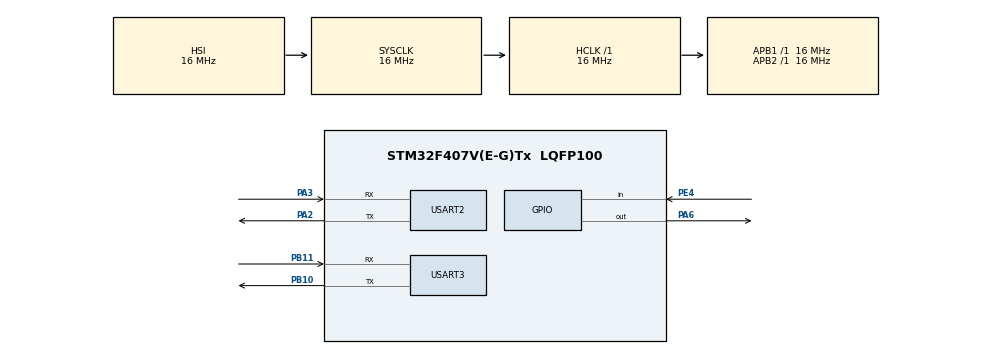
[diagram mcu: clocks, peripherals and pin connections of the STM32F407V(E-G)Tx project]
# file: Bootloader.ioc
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Mcu.Family=STM32F4
Mcu.Name=STM32F407V(E-G)Tx
Mcu.Package=LQFP100
NVIC.PriorityGroup=NVIC_PRIORITYGROUP_4
PA2.Mode=Asynchronous
PA2.Signal=USART2_TX
PA3.Mode=Asynchronous
PA3.Signal=USART2_RX
PA6.Signal=GPIO_Output
PB10.Mode=Asynchronous
PB10.Signal=USART3_TX
PB11.Mode=Asynchronous
PB11.Signal=USART3_RX
PE4.Signal=GPIO_Input
ProjectManager.HeapSize=0x200
ProjectManager.StackSize=0x400
ProjectManager.TargetToolchain=STM32CubeIDE
RCC.AHBFreq_Value=16000000
RCC.APB1Freq_Value=16000000
RCC.APB2Freq_Value=16000000
RCC.CortexFreq_Value=16000000
RCC.HSE_VALUE=25000000
RCC.HSI_VALUE=16000000
RCC.LSE_VALUE=32768
RCC.SYSCLKFreq_VALUE=16000000
RCC.VCOOutputFreq_Value=192000000
USART2.VirtualMode=VM_ASYNC
USART3.VirtualMode=VM_ASYNC
VP_CRC_VS_CRC.Mode=CRC_Activate
board=custom

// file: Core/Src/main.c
/* USER CODE BEGIN Header */
/**
  ******************************************************************************
  * @file           : main.c
  * @brief          : Main program body for STM32 Bootloader (Refactored)
  ******************************************************************************
  */
/* USER CODE END Header */
#include "main.h"

/* USER CODE BEGIN Includes */
#include <stdio.h>
#include <stdbool.h>
#include <string.h>
#include "etx_ota_update.h"
/* USER CODE END Includes */

/* USER CODE BEGIN PTD */
typedef void (*pFunction)(void);
/* USER CODE END PTD */

/* USER CODE BEGIN PD */
#define RAM_START  0x20000000
#define RAM_END    0x20030000 // F407 (192KB RAM) -> 0x20030000
/* USER CODE END PD */

/* USER CODE BEGIN PM */
#define MAJOR 0
#define MINOR 1
/* USER CODE END PM */

CRC_HandleTypeDef hcrc;
UART_HandleTypeDef huart2;
UART_HandleTypeDef huart3;

/* USER CODE BEGIN PV */
const uint8_t BL_Version[2] = {MAJOR, MINOR};
/* USER CODE END PV */

void SystemClock_Config(void);
static void MX_GPIO_Init(void);
static void MX_USART3_UART_Init(void);
static void MX_USART2_UART_Init(void);
static void MX_CRC_Init(void);

/* USER CODE BEGIN PFP */
static void goto_application(void);
static void Print_Banner(void);
static void Check_Boot_Reason(bool *goto_ota, bool *is_factory_reset);
static bool Check_Hardware_Trigger(void);
static void Enter_OTA_Mode(void);
static void Enter_App_Mode(bool is_factory_reset);
static void Check_Watchdog_Reset(void);
/* USER CODE END PFP */

/* USER CODE BEGIN 0 */
int _write(int fd, char *ptr, int len) {
    HAL_UART_Transmit(&huart3, (uint8_t*) ptr, len, HAL_MAX_DELAY);
    return len;
}
/* USER CODE END 0 */

int main(void)
{

  /* MCU Configuration--------------------------------------------------------*/
  HAL_Init();
  SystemClock_Config();

  /* Initialize all configured peripherals */
  MX_GPIO_Init();
  MX_USART3_UART_Init(); // Debug
  MX_USART2_UART_Init(); // ESP32
  MX_CRC_Init();

  /* USER CODE BEGIN 2 */

  Print_Banner();
  HAL_GPIO_WritePin(GPIOA, GPIO_PIN_6, GPIO_PIN_RESET); // LED ON indicating Bootloader
  Check_Watchdog_Reset();

  bool goto_ota_mode = false;
  bool is_factory_reset = false;

  Check_Boot_Reason(&goto_ota_mode, &is_factory_reset);

  if (!goto_ota_mode)
  {
      if (Check_Hardware_Trigger())
      {
          goto_ota_mode = true;
      }
  }

  if (goto_ota_mode)
  {
      Enter_OTA_Mode();
  }
  else
  {
      Enter_App_Mode(is_factory_reset);
  }

  /* USER CODE END 2 */

  /* Infinite loop */
  while (1)
  {
  }
}

/* ============================================================================
   HELPER FUNCTIONS IMPLEMENTATION
   ============================================================================ */
static void Check_Watchdog_Reset(void)
{
    // Kiểm tra cờ IWDGRST (Independent Watchdog Reset Flag)
    if (__HAL_RCC_GET_FLAG(RCC_FLAG_IWDGRST))
    {
        printf("\r System Reset detected by IWDG (App Crash)!\r\n");
        __HAL_RCC_CLEAR_RESET_FLAGS();

        ETX_GNRL_CFG_ *flash_cfg = (ETX_GNRL_CFG_*) (ETX_CONFIG_FLASH_ADDR);
        ETX_GNRL_CFG_ new_cfg;
        memcpy(&new_cfg, flash_cfg, sizeof(ETX_GNRL_CFG_));

        bool need_rollback = false;
        uint8_t target_slot = 0;

        if (new_cfg.slot_table[0].is_this_slot_active == 1)
        {
            // Nếu Slot 0 lỗi -> Quay về Slot 1
            if (new_cfg.slot_table[1].is_this_slot_not_valid == 0) {
                target_slot = 1;
                need_rollback = true;
            }
        }
        else if (new_cfg.slot_table[1].is_this_slot_active == 1)
        {
            // Nếu Slot 1 lỗi -> Quay về Slot 0
            if (new_cfg.slot_table[0].is_this_slot_not_valid == 0) {
                target_slot = 0;
                need_rollback = true;
            }
        }

        if (need_rollback)
        {
            printf("Flagging Slot %d for Emergency Rollback...\r\n", target_slot);
            char *msg = "ALERT:ROLLBACK_WDG\n";
            HAL_UART_Transmit(&huart2, (uint8_t*)msg, strlen(msg), 100);
            new_cfg.slot_table[target_slot].should_we_run_this_fw = 1;

            write_cfg_to_flash(&new_cfg);

            printf("Flags Updated. Resetting system to perform Rollback...\r\n");
            HAL_Delay(100);
            HAL_NVIC_SystemReset();
        }
        else
        {
            printf(">> Rollback skipped (No valid backup).\r\n");
        }
    }
    else
    {
        __HAL_RCC_CLEAR_RESET_FLAGS();
    }
}

static void Print_Banner(void)
{
    printf("\r\n=========================================\r\n");
    printf("Starting Bootloader (v%d.%d)\r\n", BL_Version[0], BL_Version[1]);
    printf("=========================================\r\n");
}

static void Check_Boot_Reason(bool *goto_ota, bool *is_factory_reset)
{
    ETX_GNRL_CFG_ *cfg = (ETX_GNRL_CFG_*) (ETX_CONFIG_FLASH_ADDR);

    printf("Reading Reboot Cause at 0x%X: 0x%lX\r\n", ETX_CONFIG_FLASH_ADDR, cfg->reboot_cause);

    if (cfg->reboot_cause == 0xFFFFFFFF)
    {
        // --- Trường hợp 1: Config bị trống (Chip mới hoặc vừa nạp dây) ---
        printf("Config is Empty (0xFFFFFFFF). Checking for Factory App...\r\n");

        // Kiểm tra tính hợp lệ của App qua MSP
        uint32_t app_msp = *(__IO uint32_t*)ETX_APP_FLASH_ADDR;

        if (app_msp >= RAM_START && app_msp <= RAM_END)
        {
            printf(">> Valid App found at 0x%X (MSP: 0x%lX).\r\n", ETX_APP_FLASH_ADDR, app_msp);
            printf(">> Assuming Factory Flashed Device. Skipping OTA.\r\n");
            *is_factory_reset = true;
            *goto_ota = false;
        }
        else
        {
            printf(">> No Valid App found (MSP: 0x%lX). Flash is empty.\r\n", app_msp);
            printf(">> Forcing OTA Mode (Rescue).\r\n");
            *goto_ota = true;
        }
    }
    else
    {
        // --- Trường hợp 2: Đã có Config ---
        switch( cfg->reboot_cause )
        {
            case ETX_NORMAL_BOOT:
                printf("Cause: Normal Boot\r\n");
                *goto_ota = false;
                break;
            case ETX_OTA_REQUEST:
                printf("Cause: OTA Request from App\r\n");
                *goto_ota = true;
                break;
            case ETX_FIRST_TIME_BOOT:
                printf("Cause: First Time Boot Flag\r\n");
                *goto_ota = true;
                break;
            default:
                printf("Cause: Unknown (0x%lX), assuming Normal Boot\r\n", cfg->reboot_cause);
                *goto_ota = false;
                break;
        };
    }
}

static bool Check_Hardware_Trigger(void)
{
    printf("Press KEY0 (PE4) within 1s to Force OTA...\r\n");
    uint32_t start_tick = HAL_GetTick();

    while ((HAL_GetTick() - start_tick) < 1000)
    {
        // Nút bấm Active LOW (Nhấn = 0)
        if (HAL_GPIO_ReadPin(GPIOE, GPIO_PIN_4) == GPIO_PIN_RESET)
        {
            printf(">> Button Pressed! Forcing OTA Mode.\r\n");
            return true;
        }
    }
    return false;
}

static void Enter_OTA_Mode(void)
{
    printf(">>> ENTERING OTA MODE <<<\r\n");

    while(1)
    {
        // Gọi hàm nhận file từ thư viện OTA
        ETX_OTA_EX_ status = etx_ota_download_and_flash();

        if( status == ETX_OTA_EX_OK )
        {
            printf("OTA Update SUCCESS! System Resetting...\r\n");
            HAL_Delay(500);
            HAL_NVIC_SystemReset();
        }
        else
        {
            printf("OTA Failed/Timeout. Retrying...\r\n");
            HAL_Delay(1000);
        }
    }
}

static void Enter_App_Mode(bool is_factory_reset)
{
    if (is_factory_reset)
    {
        printf("Factory Reset detected. Skipping Load/Verify Logic.\r\n");
    }
    else
    {
        printf("Checking for pending updates...\r\n");
        // Hàm này kiểm tra Slot mới, Copy, Verify CRC, và Rollback nếu lỗi
        load_new_app();
    }

    // 2. Nhảy vào App
    goto_application();
}

/* SYSTEM CONFIGURATION */

static void goto_application(void)
{
    printf("Jumping to Application at 0x%X...\r\n", ETX_APP_FLASH_ADDR);

    uint32_t main_stack_pointer = *(__IO uint32_t*)ETX_APP_FLASH_ADDR;
    uint32_t reset_handler_addr = *(__IO uint32_t*)(ETX_APP_FLASH_ADDR + 4);

    pFunction jump_to_app = (pFunction)reset_handler_addr;

    HAL_GPIO_WritePin(GPIOA, GPIO_PIN_6, GPIO_PIN_SET); // LED OFF

    // De-init Peripherals
    HAL_CRC_DeInit(&hcrc);
    HAL_UART_DeInit(&huart2);
    HAL_UART_DeInit(&huart3);
    HAL_RCC_DeInit();
    HAL_DeInit();

    SysTick->CTRL = 0;
    SysTick->LOAD = 0;
    SysTick->VAL = 0;

    __set_MSP(main_stack_pointer);

    jump_to_app();
}

void SystemClock_Config(void)
{
  RCC_OscInitTypeDef RCC_OscInitStruct = {0};
  RCC_ClkInitTypeDef RCC_ClkInitStruct = {0};

  __HAL_RCC_PWR_CLK_ENABLE();
  __HAL_PWR_VOLTAGESCALING_CONFIG(PWR_REGULATOR_VOLTAGE_SCALE1);

  RCC_OscInitStruct.OscillatorType = RCC_OSCILLATORTYPE_HSI;
  RCC_OscInitStruct.HSIState = RCC_HSI_ON;
  RCC_OscInitStruct.HSICalibrationValue = RCC_HSICALIBRATION_DEFAULT;
  RCC_OscInitStruct.PLL.PLLState = RCC_PLL_NONE;
  if (HAL_RCC_OscConfig(&RCC_OscInitStruct) != HAL_OK)
  {
    Error_Handler();
  }

  RCC_ClkInitStruct.ClockType = RCC_CLOCKTYPE_HCLK|RCC_CLOCKTYPE_SYSCLK
                              |RCC_CLOCKTYPE_PCLK1|RCC_CLOCKTYPE_PCLK2;
  RCC_ClkInitStruct.SYSCLKSource = RCC_SYSCLKSOURCE_HSI;
  RCC_ClkInitStruct.AHBCLKDivider = RCC_SYSCLK_DIV1;
  RCC_ClkInitStruct.APB1CLKDivider = RCC_HCLK_DIV1;
  RCC_ClkInitStruct.APB2CLKDivider = RCC_HCLK_DIV1;

  if (HAL_RCC_ClockConfig(&RCC_ClkInitStruct, FLASH_LATENCY_0) != HAL_OK)
  {
    Error_Handler();
  }
}

static void MX_CRC_Init(void)
{
  hcrc.Instance = CRC;
  if (HAL_CRC_Init(&hcrc) != HAL_OK)
  {
    Error_Handler();
  }
}

static void MX_USART2_UART_Init(void)
{
  huart2.Instance = USART2;
  huart2.Init.BaudRate = 115200;
  huart2.Init.WordLength = UART_WORDLENGTH_8B;
  huart2.Init.StopBits = UART_STOPBITS_1;
  huart2.Init.Parity = UART_PARITY_NONE;
  huart2.Init.Mode = UART_MODE_TX_RX;
  huart2.Init.HwFlowCtl = UART_HWCONTROL_NONE;
  huart2.Init.OverSampling = UART_OVERSAMPLING_16;
  if (HAL_UART_Init(&huart2) != HAL_OK)
  {
    Error_Handler();
  }
}

static void MX_USART3_UART_Init(void)
{
  huart3.Instance = USART3;
  huart3.Init.BaudRate = 115200;
  huart3.Init.WordLength = UART_WORDLENGTH_8B;
  huart3.Init.StopBits = UART_STOPBITS_1;
  huart3.Init.Parity = UART_PARITY_NONE;
  huart3.Init.Mode = UART_MODE_TX_RX;
  huart3.Init.HwFlowCtl = UART_HWCONTROL_NONE;
  huart3.Init.OverSampling = UART_OVERSAMPLING_16;
  if (HAL_UART_Init(&huart3) != HAL_OK)
  {
    Error_Handler();
  }
}

static void MX_GPIO_Init(void)
{
  GPIO_InitTypeDef GPIO_InitStruct = {0};

  __HAL_RCC_GPIOE_CLK_ENABLE();
  __HAL_RCC_GPIOA_CLK_ENABLE();
  __HAL_RCC_GPIOB_CLK_ENABLE();

  HAL_GPIO_WritePin(GPIOA, GPIO_PIN_6, GPIO_PIN_RESET);

  GPIO_InitStruct.Pin = GPIO_PIN_4;
  GPIO_InitStruct.Mode = GPIO_MODE_INPUT;
  GPIO_InitStruct.Pull = GPIO_PULLUP;
  HAL_GPIO_Init(GPIOE, &GPIO_InitStruct);

  GPIO_InitStruct.Pin = GPIO_PIN_6;
  GPIO_InitStruct.Mode = GPIO_MODE_OUTPUT_PP;
  GPIO_InitStruct.Pull = GPIO_NOPULL;
  GPIO_InitStruct.Speed = GPIO_SPEED_FREQ_LOW;
  HAL_GPIO_Init(GPIOA, &GPIO_InitStruct);
}

void Error_Handler(void)
{
  __disable_irq();
  while (1)
  {
  }
}
